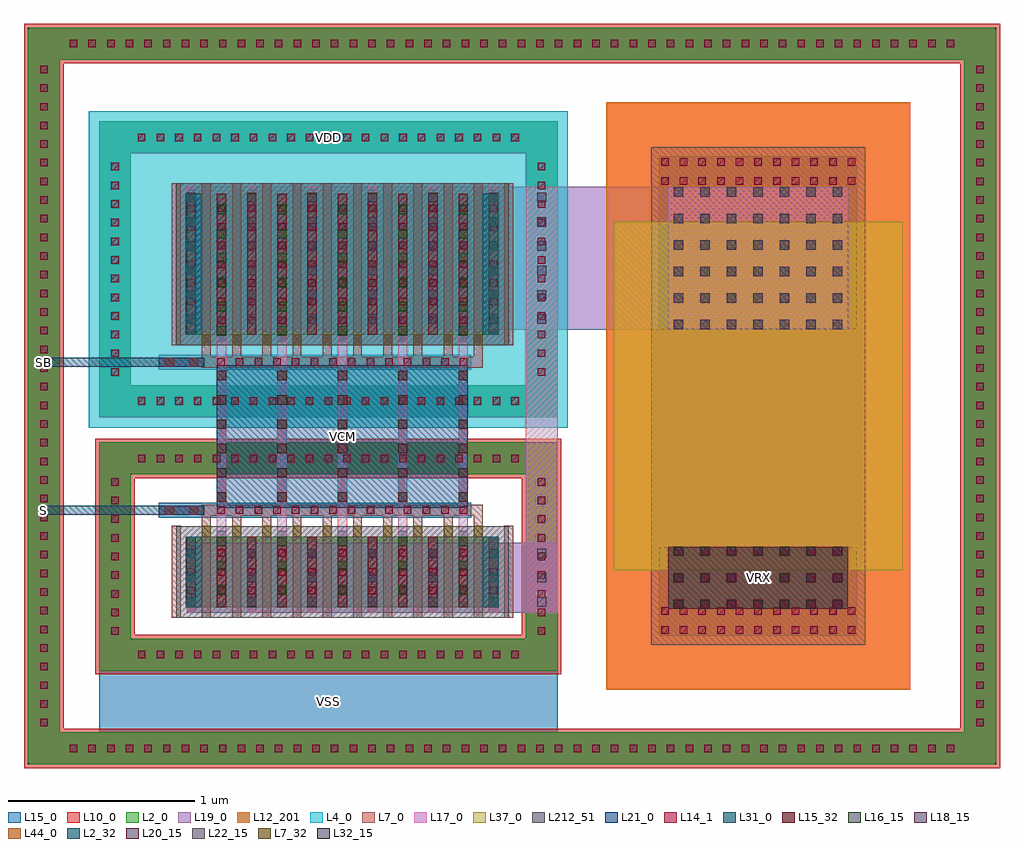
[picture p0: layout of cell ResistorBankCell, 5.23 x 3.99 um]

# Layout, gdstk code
import gdstk
lib = gdstk.Library(unit=1e-6, precision=1e-09)
def R(c, l, rs):  # rectangles x0, y0, x1, y1
    for r in rs: c.add(gdstk.rectangle(r[:2], r[2:], *l))
def A(c, l, x, y, w, h, nx, ny, dx, dy):  # array of equal rectangles
    R(c, l, [(x+i*dx, y+j*dy, x+i*dx+w, y+j*dy+h) for i in range(nx) for j in range(ny)])
L2_0 = (2, 0)
L2_32 = (2, 32)
L4_0 = (4, 0)
L7_0 = (7, 0)
L7_32 = (7, 32)
L10_0 = (10, 0)
L12_201 = (12, 201)
L14_1 = (14, 1)
L15_0 = (15, 0)
L15_32 = (15, 32)
L16_15 = (16, 15)
L17_0 = (17, 0)
L18_15 = (18, 15)
L19_0 = (19, 0)
L20_15 = (20, 15)
L21_0 = (21, 0)
L22_15 = (22, 15)
L31_0 = (31, 0)
L32_15 = (32, 15)
L37_0 = (37, 0)
L44_0 = (44, 0)
L212_51 = (212, 51)

nmosintransmissiongate = lib.new_cell('NMOSInTransmissionGate')
R(nmosintransmissiongate, L2_0, [(-0.838,-0.189,0.838,0.189)])
R(nmosintransmissiongate, L2_32, [(-0.838,-0.189,-0.753,0.189), (0.753,-0.189,0.838,0.189)])
A(nmosintransmissiongate, L7_0, -0.915, -0.246, 0.048, 0.492, 12, 1, 0.162, 0)
A(nmosintransmissiongate, L7_32, -0.753, -0.246, 0.048, 0.057, 10, 1, 0.162, 0)
A(nmosintransmissiongate, L14_1, -0.83, -0.12, 0.04, 0.04, 11, 3, 0.162, 0.1)
A(nmosintransmissiongate, L15_0, -0.835, -0.189, 0.05, 0.378, 11, 1, 0.162, 0)
A(nmosintransmissiongate, L15_32, -0.835, -0.189, 0.05, 0.378, 11, 1, 0.162, 0)
R(nmosintransmissiongate, L212_51, [(-0.891,-0.245,0.891,0.245)])

pmosintransmissiongate = lib.new_cell('PMOSInTransmissionGate')
R(pmosintransmissiongate, L2_0, [(-0.838,-0.378,0.838,0.378)])
R(pmosintransmissiongate, L2_32, [(-0.838,-0.378,-0.753,0.378), (0.753,-0.378,0.838,0.378)])
A(pmosintransmissiongate, L7_0, -0.915, -0.435, 0.048, 0.87, 12, 1, 0.162, 0)
A(pmosintransmissiongate, L7_32, -0.753, -0.435, 0.048, 0.057, 10, 1, 0.162, 0)
R(pmosintransmissiongate, L10_0, [(-0.894,-0.435,0.894,0.435)])
A(pmosintransmissiongate, L14_1, -0.83, -0.32, 0.04, 0.04, 11, 7, 0.162, 0.1)
A(pmosintransmissiongate, L15_0, -0.835, -0.378, 0.05, 0.756, 11, 1, 0.162, 0)
A(pmosintransmissiongate, L15_32, -0.835, -0.378, 0.05, 0.756, 11, 1, 0.162, 0)
R(pmosintransmissiongate, L212_51, [(-0.891,-0.434,0.891,0.434)])

viamet12met2onpmosoutput = lib.new_cell('ViaMet12Met2OnPMOSOutputInTransmissionGate')
R(viamet12met2onpmosoutput, L15_0, [(-0.025,-0.382,0.025,0.382)])
A(viamet12met2onpmosoutput, L16_15, -0.025, -0.35, 0.05, 0.05, 1, 6, 0, 0.13)
R(viamet12met2onpmosoutput, L17_0, [(-0.025,-0.382,0.025,0.382)])

viamet22met3onpmosoutput = lib.new_cell('ViaMet22Met3OnPMOSOutputInTransmissionGate')
R(viamet22met3onpmosoutput, L17_0, [(-0.025,-0.382,0.025,0.382)])
A(viamet22met3onpmosoutput, L18_15, -0.025, -0.35, 0.05, 0.05, 1, 6, 0, 0.13)
R(viamet22met3onpmosoutput, L19_0, [(-0.025,-0.382,0.025,0.382)])

viamet12met2onnmosoutput = lib.new_cell('ViaMet12Met2OnNMOSOutputInTransmissionGate')
R(viamet12met2onnmosoutput, L15_0, [(-0.025,-0.187,0.025,0.187)])
A(viamet12met2onnmosoutput, L16_15, -0.025, -0.155, 0.05, 0.05, 1, 3, 0, 0.13)
R(viamet12met2onnmosoutput, L17_0, [(-0.025,-0.187,0.025,0.187)])

viamet22met3onnmosoutput = lib.new_cell('ViaMet22Met3OnNMOSOutputInTransmissionGate')
R(viamet22met3onnmosoutput, L17_0, [(-0.025,-0.187,0.025,0.187)])
A(viamet22met3onnmosoutput, L18_15, -0.025, -0.155, 0.05, 0.05, 1, 3, 0, 0.13)
R(viamet22met3onnmosoutput, L19_0, [(-0.025,-0.187,0.025,0.187)])

viapoly2met1onpmoscontro = lib.new_cell('ViaPoly2Met1OnPMOSControlInTransmissionGate')
R(viapoly2met1onpmoscontro, L7_0, [(-0.68,-0.03,0.68,0.03)])
A(viapoly2met1onpmoscontro, L14_1, -0.67, -0.02, 0.04, 0.04, 14, 1, 0.1, 0)
R(viapoly2met1onpmoscontro, L15_0, [(-0.691,-0.041,0.691,0.041)])

viapoly2met1onnmoscontro = lib.new_cell('ViaPoly2Met1OnNMOSControlInTransmissionGate')
R(viapoly2met1onnmoscontro, L7_0, [(-0.68,-0.03,0.68,0.03)])
A(viapoly2met1onnmoscontro, L14_1, -0.67, -0.02, 0.04, 0.04, 14, 1, 0.1, 0)
R(viapoly2met1onnmoscontro, L15_0, [(-0.691,-0.041,0.691,0.041)])

transmissiongateinresist = lib.new_cell('TransmissionGateInResistorBank')
transmissiongateinresist.add(gdstk.FlexPath([(-0.729,0.444),(-0.729,0.804)], 0.048, ends="flush", simple_path=True, layer=7, datatype=0))  # L7_0
transmissiongateinresist.add(gdstk.FlexPath([(-0.567,0.444),(-0.567,0.804)], 0.048, ends="flush", simple_path=True, layer=7, datatype=0))  # L7_0
transmissiongateinresist.add(gdstk.FlexPath([(-0.405,0.444),(-0.405,0.804)], 0.048, ends="flush", simple_path=True, layer=7, datatype=0))  # L7_0
transmissiongateinresist.add(gdstk.FlexPath([(-0.243,0.444),(-0.243,0.804)], 0.048, ends="flush", simple_path=True, layer=7, datatype=0))  # L7_0
transmissiongateinresist.add(gdstk.FlexPath([(-0.081,0.444),(-0.081,0.804)], 0.048, ends="flush", simple_path=True, layer=7, datatype=0))  # L7_0
transmissiongateinresist.add(gdstk.FlexPath([(0.081,0.444),(0.081,0.804)], 0.048, ends="flush", simple_path=True, layer=7, datatype=0))  # L7_0
transmissiongateinresist.add(gdstk.FlexPath([(0.243,0.444),(0.243,0.804)], 0.048, ends="flush", simple_path=True, layer=7, datatype=0))  # L7_0
transmissiongateinresist.add(gdstk.FlexPath([(0.405,0.444),(0.405,0.804)], 0.048, ends="flush", simple_path=True, layer=7, datatype=0))  # L7_0
transmissiongateinresist.add(gdstk.FlexPath([(0.567,0.444),(0.567,0.804)], 0.048, ends="flush", simple_path=True, layer=7, datatype=0))  # L7_0
transmissiongateinresist.add(gdstk.FlexPath([(0.729,0.444),(0.729,0.804)], 0.048, ends="flush", simple_path=True, layer=7, datatype=0))  # L7_0
transmissiongateinresist.add(gdstk.FlexPath([(-0.729,2.092),(-0.729,1.537)], 0.048, ends="flush", simple_path=True, layer=7, datatype=0))  # L7_0
transmissiongateinresist.add(gdstk.FlexPath([(-0.567,2.092),(-0.567,1.537)], 0.048, ends="flush", simple_path=True, layer=7, datatype=0))  # L7_0
transmissiongateinresist.add(gdstk.FlexPath([(-0.405,2.092),(-0.405,1.537)], 0.048, ends="flush", simple_path=True, layer=7, datatype=0))  # L7_0
transmissiongateinresist.add(gdstk.FlexPath([(-0.243,2.092),(-0.243,1.537)], 0.048, ends="flush", simple_path=True, layer=7, datatype=0))  # L7_0
transmissiongateinresist.add(gdstk.FlexPath([(-0.081,2.092),(-0.081,1.537)], 0.048, ends="flush", simple_path=True, layer=7, datatype=0))  # L7_0
transmissiongateinresist.add(gdstk.FlexPath([(0.081,2.092),(0.081,1.537)], 0.048, ends="flush", simple_path=True, layer=7, datatype=0))  # L7_0
transmissiongateinresist.add(gdstk.FlexPath([(0.243,2.092),(0.243,1.537)], 0.048, ends="flush", simple_path=True, layer=7, datatype=0))  # L7_0
transmissiongateinresist.add(gdstk.FlexPath([(0.405,2.092),(0.405,1.537)], 0.048, ends="flush", simple_path=True, layer=7, datatype=0))  # L7_0
transmissiongateinresist.add(gdstk.FlexPath([(0.567,2.092),(0.567,1.537)], 0.048, ends="flush", simple_path=True, layer=7, datatype=0))  # L7_0
transmissiongateinresist.add(gdstk.FlexPath([(0.729,2.092),(0.729,1.537)], 0.048, ends="flush", simple_path=True, layer=7, datatype=0))  # L7_0
transmissiongateinresist.add(gdstk.FlexPath([(-0.729,0.774),(0.729,0.774)], 0.06, ends="flush", simple_path=True, layer=7, datatype=0))  # L7_0
transmissiongateinresist.add(gdstk.FlexPath([(-0.729,1.567),(0.729,1.567)], 0.06, ends="flush", simple_path=True, layer=7, datatype=0))  # L7_0
transmissiongateinresist.add(gdstk.Reference(nmosintransmissiongate, (0,0.444), x_reflection=True))
transmissiongateinresist.add(gdstk.Reference(pmosintransmissiongate, (0,2.092)))
transmissiongateinresist.add(gdstk.Reference(viamet12met2onpmosoutput, (-0.648,2.06)))
transmissiongateinresist.add(gdstk.Reference(viamet12met2onpmosoutput, (-0.324,2.06)))
transmissiongateinresist.add(gdstk.Reference(viamet12met2onpmosoutput, (0,2.06)))
transmissiongateinresist.add(gdstk.Reference(viamet12met2onpmosoutput, (0.324,2.06)))
transmissiongateinresist.add(gdstk.Reference(viamet12met2onpmosoutput, (0.648,2.06)))
transmissiongateinresist.add(gdstk.Reference(viamet12met2onpmosoutput, (-0.81,2.124)))
transmissiongateinresist.add(gdstk.Reference(viamet12met2onpmosoutput, (-0.486,2.124)))
transmissiongateinresist.add(gdstk.Reference(viamet12met2onpmosoutput, (-0.162,2.124)))
transmissiongateinresist.add(gdstk.Reference(viamet12met2onpmosoutput, (0.162,2.124)))
transmissiongateinresist.add(gdstk.Reference(viamet12met2onpmosoutput, (0.486,2.124)))
transmissiongateinresist.add(gdstk.Reference(viamet12met2onpmosoutput, (0.81,2.124)))
transmissiongateinresist.add(gdstk.Reference(viamet22met3onpmosoutput, (-0.81,2.124)))
transmissiongateinresist.add(gdstk.Reference(viamet22met3onpmosoutput, (-0.486,2.124)))
transmissiongateinresist.add(gdstk.Reference(viamet22met3onpmosoutput, (-0.162,2.124)))
transmissiongateinresist.add(gdstk.Reference(viamet22met3onpmosoutput, (0.162,2.124)))
transmissiongateinresist.add(gdstk.Reference(viamet22met3onpmosoutput, (0.486,2.124)))
transmissiongateinresist.add(gdstk.Reference(viamet22met3onpmosoutput, (0.81,2.124)))
transmissiongateinresist.add(gdstk.Reference(viamet12met2onnmosoutput, (-0.648,0.476)))
transmissiongateinresist.add(gdstk.Reference(viamet12met2onnmosoutput, (-0.324,0.476)))
transmissiongateinresist.add(gdstk.Reference(viamet12met2onnmosoutput, (0,0.476)))
transmissiongateinresist.add(gdstk.Reference(viamet12met2onnmosoutput, (0.324,0.476)))
transmissiongateinresist.add(gdstk.Reference(viamet12met2onnmosoutput, (0.648,0.476)))
transmissiongateinresist.add(gdstk.Reference(viamet12met2onnmosoutput, (-0.81,0.412)))
transmissiongateinresist.add(gdstk.Reference(viamet12met2onnmosoutput, (-0.486,0.412)))
transmissiongateinresist.add(gdstk.Reference(viamet12met2onnmosoutput, (-0.162,0.412)))
transmissiongateinresist.add(gdstk.Reference(viamet12met2onnmosoutput, (0.162,0.412)))
transmissiongateinresist.add(gdstk.Reference(viamet12met2onnmosoutput, (0.486,0.412)))
transmissiongateinresist.add(gdstk.Reference(viamet12met2onnmosoutput, (0.81,0.412)))
transmissiongateinresist.add(gdstk.Reference(viamet22met3onnmosoutput, (-0.81,0.412)))
transmissiongateinresist.add(gdstk.Reference(viamet22met3onnmosoutput, (-0.486,0.412)))
transmissiongateinresist.add(gdstk.Reference(viamet22met3onnmosoutput, (-0.162,0.412)))
transmissiongateinresist.add(gdstk.Reference(viamet22met3onnmosoutput, (0.162,0.412)))
transmissiongateinresist.add(gdstk.Reference(viamet22met3onnmosoutput, (0.486,0.412)))
transmissiongateinresist.add(gdstk.Reference(viamet22met3onnmosoutput, (0.81,0.412)))
transmissiongateinresist.add(gdstk.Reference(viapoly2met1onpmoscontro, (0,1.567)))
transmissiongateinresist.add(gdstk.Reference(viapoly2met1onnmoscontro, (0,0.774)))

viamet12met2oninputinres = lib.new_cell('ViaMet12Met2OnInputInResistorBank')
R(viamet12met2oninputinres, L15_0, [(-0.122,-0.025,0.122,0.025)])
R(viamet12met2oninputinres, L16_15, [(-0.09,-0.025,-0.04,0.025), (0.04,-0.025,0.09,0.025)])
R(viamet12met2oninputinres, L17_0, [(-0.122,-0.025,0.122,0.025)])

viamet22met3oninputinres = lib.new_cell('ViaMet22Met3OnInputInResistorBank')
R(viamet22met3oninputinres, L17_0, [(-0.122,-0.025,0.122,0.025)])
R(viamet22met3oninputinres, L18_15, [(-0.09,-0.025,-0.04,0.025), (0.04,-0.025,0.09,0.025)])
R(viamet22met3oninputinres, L19_0, [(-0.122,-0.025,0.122,0.025)])

viamet32met4oninputinres = lib.new_cell('ViaMet32Met4OnInputInResistorBank')
R(viamet32met4oninputinres, L19_0, [(-0.122,-0.025,0.122,0.025)])
R(viamet32met4oninputinres, L20_15, [(-0.09,-0.025,-0.04,0.025), (0.04,-0.025,0.09,0.025)])
R(viamet32met4oninputinres, L21_0, [(-0.122,-0.025,0.122,0.025)])

viamet42met5oninputinres = lib.new_cell('ViaMet42Met5OnInputInResistorBank')
R(viamet42met5oninputinres, L21_0, [(-0.122,-0.025,0.122,0.025)])
R(viamet42met5oninputinres, L22_15, [(-0.09,-0.025,-0.04,0.025), (0.04,-0.025,0.09,0.025)])
R(viamet42met5oninputinres, L31_0, [(-0.122,-0.025,0.122,0.025)])

opppcresinresistorbank = lib.new_cell('OpppcresInResistorBank')
R(opppcresinresistorbank, L7_0, [(-0.574,-1.333,0.574,1.333)])
R(opppcresinresistorbank, L10_0, [(-0.814,-1.573,0.814,1.573)])
R(opppcresinresistorbank, L12_201, [(-0.814,-1.573,0.814,1.573)])
A(opppcresinresistorbank, L14_1, -0.52, -1.273, 0.04, 0.04, 11, 2, 0.1, 0.1)
A(opppcresinresistorbank, L14_1, -0.52, 1.133, 0.04, 0.04, 11, 2, 0.1, 0.1)
R(opppcresinresistorbank, L15_0, [(-0.532,-1.285,0.532,-1.121), (-0.532,1.121,0.532,1.285)])
R(opppcresinresistorbank, L37_0, [(-0.774,-0.933,0.774,0.933)])

pmossubringinresistorban = lib.new_cell('PMOSSubringInResistorBank')
R(pmossubringinresistorban, L2_0, [(-1.228,-0.792,1.228,-0.622), (-1.228,-0.792,-1.058,0.792), (1.058,-0.792,1.228,0.792), (-1.228,0.622,1.228,0.792)])
A(pmossubringinresistorban, L14_1, -1.02, -0.727, 0.04, 0.04, 21, 2, 0.1, 1.414)
A(pmossubringinresistorban, L14_1, -1.163, -0.57, 0.04, 0.04, 1, 12, 0, 0.1)
A(pmossubringinresistorban, L14_1, 1.123, -0.57, 0.04, 0.04, 1, 12, 0, 0.1)
R(pmossubringinresistorban, L15_0, [(-1.228,-0.792,1.228,-0.622), (-1.228,-0.792,-1.058,0.792), (1.058,-0.792,1.228,0.792), (-1.228,0.622,1.228,0.792)])
pmossubringinresistorban.add(gdstk.FlexPath([(1.143,0.848),(1.143,-0.707),(-1.143,-0.707),(-1.143,0.707),(1.284,0.707)], 0.282, ends="flush", simple_path=True, layer=4, datatype=0))  # L4_0

nmossubringinresistorban = lib.new_cell('NMOSSubringInResistorBank')
R(nmossubringinresistorban, L2_0, [(-1.228,-0.611,1.228,-0.441), (-1.228,-0.611,-1.058,0.611), (1.058,-0.611,1.228,0.611), (-1.228,0.441,1.228,0.611)])
A(nmossubringinresistorban, L14_1, -1.02, -0.546, 0.04, 0.04, 21, 2, 0.1, 1.052)
A(nmossubringinresistorban, L14_1, -1.163, -0.42, 0.04, 0.04, 1, 9, 0, 0.1)
A(nmossubringinresistorban, L14_1, 1.123, -0.42, 0.04, 0.04, 1, 9, 0, 0.1)
R(nmossubringinresistorban, L15_0, [(-1.228,-0.611,1.228,-0.441), (-1.228,-0.611,-1.058,0.611), (1.058,-0.611,1.228,0.611), (-1.228,0.441,1.228,0.611)])
nmossubringinresistorban.add(gdstk.FlexPath([(1.143,0.632),(1.143,-0.526),(-1.143,-0.526),(-1.143,0.526),(1.249,0.526)], 0.212, ends="flush", simple_path=True, layer=10, datatype=0))  # L10_0

totalsubringinresistorba = lib.new_cell('TotalSubringInResistorBank')
R(totalsubringinresistorba, L2_0, [(-2.594,-1.973,2.594,-1.803), (-2.594,-1.973,-2.424,1.973), (2.424,-1.973,2.594,1.973), (-2.594,1.803,2.594,1.973)])
A(totalsubringinresistorba, L14_1, -2.37, -1.908, 0.04, 0.04, 48, 2, 0.1, 3.776)
A(totalsubringinresistorba, L14_1, -2.529, -1.77, 0.04, 0.04, 1, 36, 0, 0.1)
A(totalsubringinresistorba, L14_1, 2.489, -1.77, 0.04, 0.04, 1, 36, 0, 0.1)
R(totalsubringinresistorba, L15_0, [(-2.594,-1.973,2.594,-1.803), (-2.594,-1.973,-2.424,1.973), (2.424,-1.973,2.594,1.973), (-2.594,1.803,2.594,1.973)])
totalsubringinresistorba.add(gdstk.FlexPath([(2.509,1.994),(2.509,-1.888),(-2.509,-1.888),(-2.509,1.888),(2.615,1.888)], 0.212, ends="flush", simple_path=True, layer=10, datatype=0))  # L10_0

viamet12met2onresistorin = lib.new_cell('ViaMet12Met2OnResistorInResistorBank')
R(viamet12met2onresistorin, L15_0, [(-0.483,-0.38,0.483,0.38)])
A(viamet12met2onresistorin, L16_15, -0.451, -0.38, 0.05, 0.05, 7, 6, 0.142, 0.142)
R(viamet12met2onresistorin, L17_0, [(-0.483,-0.38,0.483,0.38)])

viamet12met2onresistor1i = lib.new_cell('ViaMet12Met2OnResistor1InResistorBank')
R(viamet12met2onresistor1i, L15_0, [(-0.483,-0.167,0.483,0.167)])
A(viamet12met2onresistor1i, L16_15, -0.451, -0.167, 0.05, 0.05, 7, 3, 0.142, 0.142)
R(viamet12met2onresistor1i, L17_0, [(-0.483,-0.167,0.483,0.167)])

viamet22met3onresistorin = lib.new_cell('ViaMet22Met3OnResistorInResistorBank')
R(viamet22met3onresistorin, L17_0, [(-0.483,-0.38,0.483,0.38)])
A(viamet22met3onresistorin, L18_15, -0.451, -0.38, 0.05, 0.05, 7, 6, 0.142, 0.142)
R(viamet22met3onresistorin, L19_0, [(-0.483,-0.38,0.483,0.38)])

viamet22met3onresistor1i = lib.new_cell('ViaMet22Met3OnResistor1InResistorBank')
R(viamet22met3onresistor1i, L17_0, [(-0.483,-0.167,0.483,0.167)])
A(viamet22met3onresistor1i, L18_15, -0.451, -0.167, 0.05, 0.05, 7, 3, 0.142, 0.142)
R(viamet22met3onresistor1i, L19_0, [(-0.483,-0.167,0.483,0.167)])

viamet32met4onresistorin = lib.new_cell('ViaMet32Met4OnResistorInResistorBank')
R(viamet32met4onresistorin, L19_0, [(-0.483,-0.167,0.483,0.167)])
A(viamet32met4onresistorin, L20_15, -0.451, -0.167, 0.05, 0.05, 7, 3, 0.142, 0.142)
R(viamet32met4onresistorin, L21_0, [(-0.483,-0.167,0.483,0.167)])

viamet42met5onresistorin = lib.new_cell('ViaMet42Met5OnResistorInResistorBank')
R(viamet42met5onresistorin, L21_0, [(-0.483,-0.167,0.483,0.167)])
A(viamet42met5onresistorin, L22_15, -0.451, -0.167, 0.05, 0.05, 7, 3, 0.142, 0.142)
R(viamet42met5onresistorin, L31_0, [(-0.483,-0.167,0.483,0.167)])

viamet52met6onresistorin = lib.new_cell('ViaMet52Met6OnResistorInResistorBank')
R(viamet52met6onresistorin, L31_0, [(-0.483,-0.167,0.483,0.167)])
A(viamet52met6onresistorin, L32_15, -0.451, -0.167, 0.05, 0.05, 7, 3, 0.142, 0.142)
R(viamet52met6onresistorin, L44_0, [(-0.483,-0.167,0.483,0.167)])

viavcmmet22met3inresisto = lib.new_cell('ViaVCMMet22Met3InResistorBank')
R(viavcmmet22met3inresisto, L17_0, [(-0.025,-0.382,0.025,0.382)])
A(viavcmmet22met3inresisto, L18_15, -0.025, -0.35, 0.05, 0.05, 1, 6, 0, 0.13)
R(viavcmmet22met3inresisto, L19_0, [(-0.025,-0.382,0.025,0.382)])

viavcmmet32met4inresisto = lib.new_cell('ViaVCMMet32Met4InResistorBank')
R(viavcmmet32met4inresisto, L19_0, [(-0.025,-0.382,0.025,0.382)])
A(viavcmmet32met4inresisto, L20_15, -0.025, -0.35, 0.05, 0.05, 1, 6, 0, 0.13)
R(viavcmmet32met4inresisto, L21_0, [(-0.025,-0.382,0.025,0.382)])

viatgpmos2resmet22met3in = lib.new_cell('ViaTGPMOS2ResMet22Met3InResistorBank')
R(viatgpmos2resmet22met3in, L17_0, [(-0.057,-0.35,0.057,0.35)])
A(viatgpmos2resmet22met3in, L18_15, -0.025, -0.35, 0.05, 0.05, 1, 6, 0, 0.13)
R(viatgpmos2resmet22met3in, L19_0, [(-0.057,-0.35,0.057,0.35)])

viatgnmos2resmet22met3in = lib.new_cell('ViaTGNMOS2ResMet22Met3InResistorBank')
R(viatgnmos2resmet22met3in, L17_0, [(-0.057,-0.155,0.057,0.155)])
A(viatgnmos2resmet22met3in, L18_15, -0.025, -0.155, 0.05, 0.05, 1, 3, 0, 0.13)
R(viatgnmos2resmet22met3in, L19_0, [(-0.057,-0.155,0.057,0.155)])

resistorbankcell = lib.new_cell('ResistorBankCell')
R(resistorbankcell, L15_0, [(-1.303,-0.587,1.153,0.085)])
A(resistorbankcell, L17_0, -0.673, 0.289, 0.05, 2.154, 5, 1, 0.324, 0)
R(resistorbankcell, L21_0, [(-0.648,0.788,0.648,1.552)])
resistorbankcell.add(gdstk.FlexPath([(-0.861,1.567),(-1.6,1.567)], 0.05, ends="flush", simple_path=True, layer=31, datatype=0))  # L31_0
resistorbankcell.add(gdstk.FlexPath([(-0.861,0.774),(-1.6,0.774)], 0.05, ends="flush", simple_path=True, layer=31, datatype=0))  # L31_0
resistorbankcell.add(gdstk.FlexPath([(-1.133,2.065),(0.983,2.065)], 1.244, ends="flush", simple_path=True, layer=4, datatype=0))  # L4_0
resistorbankcell.add(gdstk.FlexPath([(-0.983,1.567),(0,1.567)], 0.082, ends="flush", simple_path=True, layer=15, datatype=0))  # L15_0
resistorbankcell.add(gdstk.FlexPath([(-0.983,0.774),(0,0.774)], 0.082, ends="flush", simple_path=True, layer=15, datatype=0))  # L15_0
resistorbankcell.add(gdstk.FlexPath([(2.228,1.744),(2.228,2.671)], 1.064, ends="flush", simple_path=True, layer=15, datatype=0))  # L15_0
resistorbankcell.add(gdstk.FlexPath([(2.228,0.579),(2.228,0.101)], 1.064, ends="flush", simple_path=True, layer=15, datatype=0))  # L15_0
resistorbankcell.add(gdstk.FlexPath([(-0.81,2.124),(2.711,2.124)], 0.764, ends="flush", simple_path=True, layer=19, datatype=0))  # L19_0
resistorbankcell.add(gdstk.FlexPath([(-0.81,0.412),(1.153,0.412)], 0.374, ends="flush", simple_path=True, layer=19, datatype=0))  # L19_0
resistorbankcell.add(gdstk.FlexPath([(1.068,2.506),(1.068,0.225)], 0.17, ends="flush", simple_path=True, layer=17, datatype=0))  # L17_0
resistorbankcell.add(gdstk.Reference(transmissiongateinresist, (0,0)))
resistorbankcell.add(gdstk.Reference(viamet12met2oninputinres, (-0.861,1.567)))
resistorbankcell.add(gdstk.Reference(viamet12met2oninputinres, (-0.861,0.774)))
resistorbankcell.add(gdstk.Reference(viamet22met3oninputinres, (-0.861,1.567)))
resistorbankcell.add(gdstk.Reference(viamet22met3oninputinres, (-0.861,0.774)))
resistorbankcell.add(gdstk.Reference(viamet32met4oninputinres, (-0.861,1.567)))
resistorbankcell.add(gdstk.Reference(viamet32met4oninputinres, (-0.861,0.774)))
resistorbankcell.add(gdstk.Reference(viamet42met5oninputinres, (-0.861,1.567)))
resistorbankcell.add(gdstk.Reference(viamet42met5oninputinres, (-0.861,0.774)))
resistorbankcell.add(gdstk.Reference(opppcresinresistorbank, (2.228,1.386)))
resistorbankcell.add(gdstk.Reference(pmossubringinresistorban, (-0.075,2.065)))
resistorbankcell.add(gdstk.Reference(nmossubringinresistorban, (-0.075,0.526)))
resistorbankcell.add(gdstk.Reference(totalsubringinresistorba, (0.909,1.386)))
resistorbankcell.add(gdstk.Reference(viamet12met2onresistorin, (2.228,2.124)))
resistorbankcell.add(gdstk.Reference(viamet12met2onresistor1i, (2.228,0.412)))
resistorbankcell.add(gdstk.Reference(viamet22met3onresistorin, (2.228,2.124)))
resistorbankcell.add(gdstk.Reference(viamet22met3onresistor1i, (2.228,0.412)))
resistorbankcell.add(gdstk.Reference(viamet32met4onresistorin, (2.228,0.412)))
resistorbankcell.add(gdstk.Reference(viamet42met5onresistorin, (2.228,0.412)))
resistorbankcell.add(gdstk.Reference(viamet52met6onresistorin, (2.228,0.412)))
resistorbankcell.add(gdstk.Reference(viavcmmet22met3inresisto, (-0.648,1.17)))
resistorbankcell.add(gdstk.Reference(viavcmmet22met3inresisto, (-0.324,1.17)))
resistorbankcell.add(gdstk.Reference(viavcmmet22met3inresisto, (0,1.17)))
resistorbankcell.add(gdstk.Reference(viavcmmet22met3inresisto, (0.324,1.17)))
resistorbankcell.add(gdstk.Reference(viavcmmet22met3inresisto, (0.648,1.17)))
resistorbankcell.add(gdstk.Reference(viavcmmet32met4inresisto, (-0.648,1.17)))
resistorbankcell.add(gdstk.Reference(viavcmmet32met4inresisto, (-0.324,1.17)))
resistorbankcell.add(gdstk.Reference(viavcmmet32met4inresisto, (0,1.17)))
resistorbankcell.add(gdstk.Reference(viavcmmet32met4inresisto, (0.324,1.17)))
resistorbankcell.add(gdstk.Reference(viavcmmet32met4inresisto, (0.648,1.17)))
resistorbankcell.add(gdstk.Reference(viatgpmos2resmet22met3in, (1.068,2.124)))
resistorbankcell.add(gdstk.Reference(viatgnmos2resmet22met3in, (1.068,0.412)))
resistorbankcell.add(gdstk.Label('VDD', (-0.075,2.772), layer=15, texttype=20))
resistorbankcell.add(gdstk.Label('VSS', (-0.075,-0.251), layer=15, texttype=20))
resistorbankcell.add(gdstk.Label('S', (-1.6,0.774), layer=31, texttype=20))
resistorbankcell.add(gdstk.Label('SB', (-1.6,1.567), layer=31, texttype=20))
resistorbankcell.add(gdstk.Label('VRX', (2.228,0.412), layer=44, texttype=20))
resistorbankcell.add(gdstk.Label('VCM', (0,1.17), layer=21, texttype=20))

lib.write_gds('ResistorBankCell.gds')
